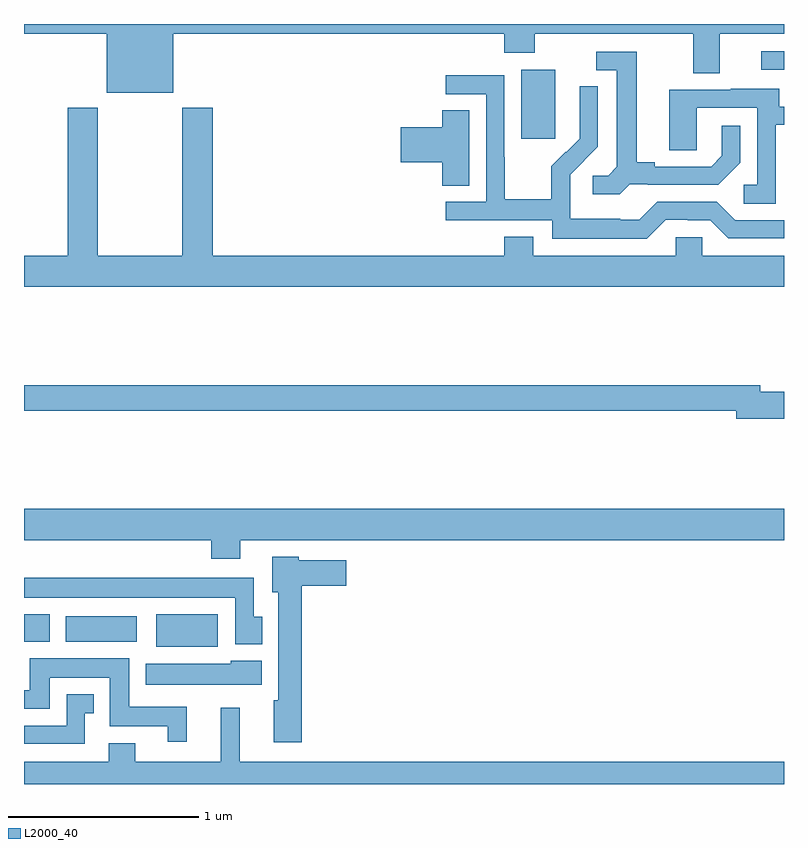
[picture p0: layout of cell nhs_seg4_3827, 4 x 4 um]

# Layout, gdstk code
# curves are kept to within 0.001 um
import gdstk
lib = gdstk.Library(unit=1e-6, precision=1e-09)
def R(c, l, rs):  # rectangles x0, y0, x1, y1
    for r in rs: c.add(gdstk.rectangle(r[:2], r[2:], *l))
def P(c, l, *ps):  # polygons
    for p in ps: c.add(gdstk.Polygon(p, *l))
L2000_40 = (2000, 40)

nhs_seg4_3827 = lib.new_cell('nhs_seg4_3827')
R(nhs_seg4_3827, L2000_40, [(313.697,765.623,314.02,765.793), (313,765.65,313.135,765.793), (313.22,765.65,313.594,765.784), (315.617,768.297,315.796,768.658), (316.881,768.66,317,768.756)])
P(nhs_seg4_3827, L2000_40, [(313.786,768.848),(315.527,768.848),(315.527,768.749),(315.687,768.749),(315.687,768.848),(316.523,768.848),(316.523,768.64),(316.663,768.64),(316.663,768.848),(317,768.848),(317,768.9),(313,768.9),(313,768.848),(313.436,768.848),(313.436,768.539),(313.786,768.539)],
  [(316.188,768.057),(316.282,768.057),(316.282,768.054),(316.654,768.054),(316.77,768.17),(316.77,768.364),(316.673,768.364),(316.673,768.207),(316.616,768.15),(316.321,768.15),(316.321,768.173),(316.225,768.173),(316.225,768.753),(316.011,768.753),(316.011,768.657),(316.121,768.657),(316.121,768.149),(316.074,768.102),(315.993,768.102),(315.993,768.005),(316.136,768.005)],
  [(316.377,767.871),(316.493,767.871),(316.493,767.868),(316.611,767.868),(316.707,767.772),(317,767.772),(317,767.868),(316.743,767.868),(316.647,767.964),(316.332,767.964),(316.239,767.871),(316.139,767.871),(316.139,767.875),(315.876,767.875),(315.876,768.009),(315.874,768.009),(315.874,768.106),(316.02,768.254),(316.02,768.572),(315.924,768.572),(315.924,768.418),(315.926,768.418),(315.926,768.296),(315.855,768.225),(315.852,768.228),(315.775,768.151),(315.775,767.977),(315.531,767.977),(315.531,768.2),(315.528,768.2),(315.528,768.63),(315.219,768.63),(315.219,768.531),(315.432,768.531),(315.432,767.964),(315.219,767.964),(315.219,767.868),(315.78,767.868),(315.78,767.771),(316.277,767.771)],
  [(316.956,768.369),(317,768.369),(317,768.465),(316.975,768.465),(316.975,768.559),(316.721,768.559),(316.721,768.555),(316.397,768.555),(316.397,768.235),(316.542,768.235),(316.542,768.459),(316.86,768.459),(316.86,768.054),(316.788,768.054),(316.788,767.953),(316.956,767.953)],
  [(317,767.68),(316.569,767.68),(316.569,767.778),(316.431,767.778),(316.431,767.68),(315.679,767.68),(315.679,767.779),(315.527,767.779),(315.527,767.68),(313.994,767.68),(313.994,768.46),(313.834,768.46),(313.834,767.68),(313.389,767.68),(313.389,768.46),(313.229,768.46),(313.229,767.68),(313,767.68),(313,767.516),(317,767.516)],
  [(315.343,768.446),(315.2,768.446),(315.2,768.356),(314.982,768.356),(314.982,768.173),(315.2,768.173),(315.2,768.049),(315.343,768.049)],
  [(317,766.964),(316.876,766.964),(316.876,767),(313,767),(313,766.864),(316.748,766.864),(316.748,766.822),(317,766.822)],
  [(314.137,766.184),(317,766.184),(317,766.348),(313,766.348),(313,766.184),(313.985,766.184),(313.985,766.085),(314.137,766.085)],
  [(314.462,765.944),(314.695,765.944),(314.695,766.078),(314.445,766.078),(314.445,766.096),(314.306,766.096),(314.306,765.909),(314.339,765.909),(314.339,765.342),(314.315,765.342),(314.315,765.12),(314.462,765.12)],
  [(314.254,765.78),(314.209,765.78),(314.209,765.985),(313,765.985),(313,765.881),(314.112,765.881),(314.112,765.636),(314.254,765.636)],
  [(313.856,765.307),(313.555,765.307),(313.555,765.562),(313.031,765.562),(313.031,765.393),(313,765.393),(313,765.297),(313.135,765.297),(313.135,765.458),(313.451,765.458),(313.451,765.203),(313.757,765.203),(313.757,765.123),(313.856,765.123)],
  [(314.251,765.55),(314.088,765.55),(314.088,765.532),(313.64,765.532),(313.64,765.422),(314.251,765.422)],
  [(313.32,765.273),(313.366,765.273),(313.366,765.373),(313.224,765.373),(313.224,765.207),(313,765.207),(313,765.111),(313.32,765.111)],
  [(317,765.016),(314.135,765.016),(314.135,765.301),(314.036,765.301),(314.036,765.016),(313.585,765.016),(313.585,765.115),(313.445,765.115),(313.445,765.016),(313,765.016),(313,764.9),(317,764.9)])

lib.write_gds('nhs_seg4_3827.gds')
